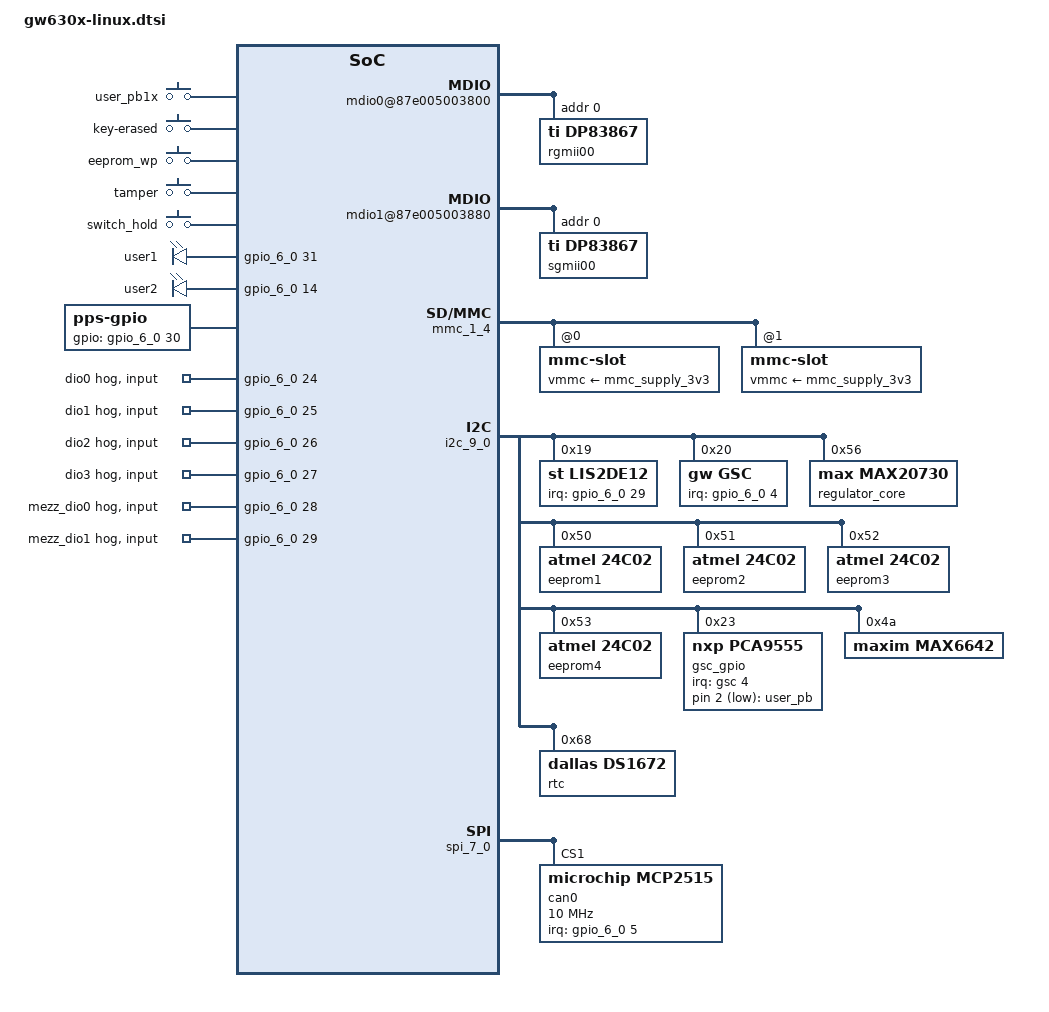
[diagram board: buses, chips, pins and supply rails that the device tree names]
/*
 * Copyright 2017 Gateworks Corporation
 *
 * This file is dual-licensed: you can use it either under the terms
 * of the GPL or the X11 license, at your option. Note that this dual
 * licensing only applies to this file, and not this project as a
 * whole.
 *
 *  a) This library is free software; you can redistribute it and/or
 *     modify it under the terms of the GNU General Public License as
 *     published by the Free Software Foundation; either version 2 of the
 *     License, or (at your option) any later version.
 *
 *     This library is distributed in the hope that it will be useful,
 *     but WITHOUT ANY WARRANTY; without even the implied warranty of
 *     MERCHANTABILITY or FITNESS FOR A PARTICULAR PURPOSE.  See the
 *     GNU General Public License for more details.
 *
 *     You should have received a copy of the GNU General Public
 *     License along with this library; if not, write to the Free
 *     Software Foundation, Inc., 51 Franklin St, Fifth Floor, Boston,
 *     MA 02110-1301 USA
 *
 * Or, alternatively,
 *
 *  b) Permission is hereby granted, free of charge, to any person
 *     obtaining a copy of this software and associated documentation
 *     files (the "Software"), to deal in the Software without
 *     restriction, including without limitation the rights to use,
 *     copy, modify, merge, publish, distribute, sublicense, and/or
 *     sell copies of the Software, and to permit persons to whom the
 *     Software is furnished to do so, subject to the following
 *     conditions:
 *
 *     The above copyright notice and this permission notice shall be
 *     included in all copies or substantial portions of the Software.
 *
 *     THE SOFTWARE IS PROVIDED "AS IS", WITHOUT WARRANTY OF ANY KIND,
 *     EXPRESS OR IMPLIED, INCLUDING BUT NOT LIMITED TO THE WARRANTIES
 *     OF MERCHANTABILITY, FITNESS FOR A PARTICULAR PURPOSE AND
 *     NONINFRINGEMENT. IN NO EVENT SHALL THE AUTHORS OR COPYRIGHT
 *     HOLDERS BE LIABLE FOR ANY CLAIM, DAMAGES OR OTHER LIABILITY,
 *     WHETHER IN AN ACTION OF CONTRACT, TORT OR OTHERWISE, ARISING
 *     FROM, OUT OF OR IN CONNECTION WITH THE SOFTWARE OR THE USE OR
 *     OTHER DEALINGS IN THE SOFTWARE.
 */

/include/ "cn81xx-linux.dtsi"

/ {
	aliases {
		ethernet0 = &eth0;
		ethernet1 = &eth1;
	};

	chosen {
		stdout-path = "serial0:115200n8";
	};

	config {
		u-boot,mmc-env-offset = <0xff0000>;
		u-boot,mmc-env-offset-redundant = <0xff8000>;
		u-boot,mmc-env-partition = <0>;
	};

	gpio-keys {
		compatible = "gpio-keys";
		#address-cells = <1>;
		#size-cells = <0>;

		user_pb {
			label = "user_pb";
			gpios = <&gsc_gpio 2 1>; /* GPIO_ACTIVE_LOW */
			linux,code = <256>; /* BTN_0 */
		};

		user_pb1x {
			label = "user_pb1x";
			linux,code = <257>; /* BTN_1 */
			interrupt-parent = <&gsc>;
			interrupts = <0>;
		};

		key_erased {
			label = "key-erased";
			linux,code = <258>; /* BTN_2 */
			interrupt-parent = <&gsc>;
			interrupts = <1>;
		};

		eeprom_wp {
			label = "eeprom_wp";
			linux,code = <259>; /* BTN_3 */
			interrupt-parent = <&gsc>;
			interrupts = <2>;
		};

		tamper {
			label = "tamper";
			linux,code = <260>; /* BTN_4 */
			interrupt-parent = <&gsc>;
			interrupts = <5>;
		};

		switch_hold {
			label = "switch_hold";
			linux,code = <261>; /* BTN_5 */
			interrupt-parent = <&gsc>;
			interrupts = <7>;
		};
	};

	leds {
		compatible = "gpio-leds";

		/* Bi-Color LED */
		led0: user1 {
			label = "user1"; /* GREEN */
			gpios = <&gpio_6_0 31 0>;
			default-state = "on";
			linux,default-trigger = "heartbeat";
		};

		led1: user2 {
			label = "user2"; /* RED */
			gpios = <&gpio_6_0 14 0>;
			default-state = "off";
		};
	};

	pps {
		compatible = "pps-gpio";
		gpios = <&gpio_6_0 30 0>;
	};
};

&gpio_6_0 {
	/* name gpios in Linux that are not associated with a driver */
	gpio-line-names =
		"", "", "", "",
		"", "", "", "",
		"", "", "", "",
		"", "", "", "",
		"", "", "", "",
		"", "", "", "",
		"dio0", "dio1", "dio2", "dio3",
		"mezz_dio0", "mezz_dio1", "", "",
		"", "", "", "",
		"", "", "", "",
		"", "", "", "",
		"", "", "", "";

	dio_0 {
		gpio-hog;
		input;
		gpios = <24 0>; /* GPIO_ACTIVE_HIGH */
		line-name = "dio0";
	};

	dio_1 {
		gpio-hog;
		input;
		gpios = <25 0>; /* GPIO_ACTIVE_HIGH */
		line-name = "dio1";
	};

	dio_2 {
		gpio-hog;
		input;
		gpios = <26 0>; /* GPIO_ACTIVE_HIGH */
		line-name = "dio2";
	};

	dio_3 {
		gpio-hog;
		input;
		gpios = <27 0>; /* GPIO_ACTIVE_HIGH */
		line-name = "dio3";
	};

	pcie_0 {
		gpio-hog;
		input;
		gpios = <28 0>; /* GPIO_ACTIVE_HIGH */
		line-name = "mezz_dio0";
	};

	pcie_1 {
		gpio-hog;
		input;
		gpios = <29 0>; /* GPIO_ACTIVE_HIGH */
		line-name = "mezz_dio1";
	};
};

&mrml_bridge {
	/* CN8xxx MDIO */
	mdio-nexus@1,3 {
		/* MDIO0 */
		mdio0@87e005003800 {
			rgmii00: rgmii00 {
				reg = <0>; /* phy address */
				compatible = "ti,dp83867", "ethernet-phy-ieee802.3-c22";
				ti,clk-output-sel = <0xb>; /* CHD TX CLK */
				ti,rx-internal-delay = <0x7>; /* 2ns */
				ti,tx-internal-delay = <0x7>; /* 20ps */
				ti,fifo-depth = <3>; /* 0=3 1=4 2=6 3=8 */
			};
		};
		/* MDIO1 */
		mdio1@87e005003880 {
			sgmii00: sgmii@0 {
				qlm-mode = "0x000,sgmii";
				reg = <0>; /* phy address */
				compatible = "ti,dp83867", "ethernet-phy-ieee802.3-c22";
				ti,fifo-depth = <3>; /* 0=3 1=4 2=6 3=8 */
			};
		};
	};

	rgx0 {
		eth0: rgmii00 {
			reg = <0>;
			local-mac-address = [00 00 00 00 00 00];
			phy-handle = <&rgmii00>;
		};
	};

	/* DLM1 => SGMII (dp83867) */
	bgx0 {
		/* BGX0.0 */
		eth1: sgmii@0 {
			reg = <0>;
			qlm-mode = "0x000,sgmii";
			local-mac-address = [00 00 00 00 00 00];
			phy-handle = <&sgmii00>;
		};
	};
};

&mmc_1_4 {
	/* CMD0 placeholder */
	mmc-slot@0 {
		compatible = "mmc-slot";
		reg = <0>;
		vmmc-supply = <&mmc_supply_3v3>;
		max-frequency = <35000000>;
		/* 1.8v is not supported */
		no-1-8-v;
		/* No write-protect switch is present */
		disable-wp;
		/* no card detection available; polling must be used. */
		broken-cd;
		/* speed up device probing */
		no-sdio;
	};

	/* CMD1 placeholder */
	mmc-slot@1 {
		compatible = "mmc-slot";
		reg = <1>;
		vmmc-supply = <&mmc_supply_3v3>;
		max-frequency = <35000000>;
		/* 1.8v is not supported */
		no-1-8-v;
		/* No write-protect switch is present */
		disable-wp;
		/* no card detection available; polling must be used. */
		broken-cd;
		/* speed up device probing */
		no-sdio;
	};
};

/* TWSI0 */
&i2c_9_0 {
	lis2de12@19 {
		compatible = "st,lis2de12";
		reg = <0x19>;
		st,drdy-int-pin = <1>;
		interrupt-parent = <&gpio_6_0>;
		interrupts = <29 1>;
		interrupt-names = "INT1";
	};

	gsc: gsc@20 {
		compatible = "gw,gsc";
		reg = <0x20>;
		interrupt-parent = <&gpio_6_0>;
		interrupts = <4 8>;
		interrupt-controller;
		#address-cells = <1>;
		#interrupt-cells = <1>;
		#size-cells = <0>;

		adc {
			compatible = "gw,gsc-adc";
			#address-cells = <1>;
			#size-cells = <0>;

			channel@6 {
				gw,mode = <0>;
				reg = <0x06>;
				label = "temp";
			};

			channel@8 {
				gw,mode = <3>;
				reg = <0x08>;
				label = "vdd_bat";
			};

			channel@16 {
				gw,mode = <4>;
				reg = <0x16>;
				label = "fan_tach";
			};

			channel@82 {
				gw,mode = <2>;
				reg = <0x82>;
				label = "vdd_vin";
				gw,voltage-divider-ohms = <22100 1000>;
				gw,voltage-offset-microvolt = <800000>;
			};

			channel@84 {
				gw,mode = <2>;
				reg = <0x84>;
				label = "vdd_5p0";
				gw,voltage-divider-ohms = <22100 10000>;
			};

			channel@86 {
				gw,mode = <2>;
				reg = <0x86>;
				label = "vdd_3p3";
				gw,voltage-divider-ohms = <10000 10000>;
			};

			channel@88 {
				gw,mode = <2>;
				reg = <0x88>;
				label = "vdd_2p5";
				gw,voltage-divider-ohms = <10000 10000>;
			};

			channel@8c {
				gw,mode = <2>;
				reg = <0x8c>;
				label = "vdd_core";
			};

			channel@8e {
				gw,mode = <2>;
				reg = <0x8e>;
				label = "vdd_0p9";
			};

			channel@90 {
				gw,mode = <2>;
				reg = <0x90>;
				label = "vdd_1p0";
			};

			channel@92 {
				gw,mode = <2>;
				reg = <0x92>;
				label = "vdd_1p2";
			};

			channel@98 {
				gw,mode = <2>;
				reg = <0x98>;
				label = "vdd_1p5";
			};

			channel@9a {
				gw,mode = <2>;
				reg = <0x9a>;
				label = "vdd_an1";
				gw,voltage-divider-ohms = <10000 10000>;
			};

			channel@a2 {
				gw,mode = <2>;
				reg = <0xa2>;
				label = "vdd_gsc";
				gw,voltage-divider-ohms = <10000 10000>;
			};
		};

		fan-controller@0a {
			#size-cells = <0>;
			compatible = "gw,gsc-fan";
			reg = <0x0a>;
		};
	};

	/* regulator */
	regulator_core: max20730-i2c@56 {
		compatible = "max,max20730";
		reg = <0x56>;
	};

	eeprom1: eeprom@50 {
		compatible = "atmel,24c02";
		reg = <0x50>;
		pagesize = <16>;
	};

	eeprom2: eeprom@51 {
		compatible = "atmel,24c02";
		reg = <0x51>;
		pagesize = <16>;
	};

	eeprom3: eeprom@52 {
		compatible = "atmel,24c02";
		reg = <0x52>;
		pagesize = <16>;
	};

	eeprom4: eeprom@53 {
		compatible = "atmel,24c02";
		reg = <0x53>;
		pagesize = <16>;
	};

	gsc_gpio: pca9555@23 {
		compatible = "nxp,pca9555";
		reg = <0x23>;
		gpio-controller;
		#gpio-cells = <2>;
		interrupt-parent = <&gsc>;
		interrupts = <4>;
		gpio-line-names =
			"pci_wdis#", "", "", "", "", "", "", "",
			"", "", "", "", "", "", "", "";

		/* NB: this can only be used as an output */
		pci_wdis {
			gpio-hog;
			output-high;
			gpios = <0 0>; /* GPIO_ACTIVE_HIGH */
			line-name = "pci_wdis#";
		};
	};

	max6642: max6642@4a {
		compatible = "maxim,max6642";
		reg = <0x4a>;
	};

	rtc: ds1672@68 {
		compatible = "dallas,ds1672";
		reg = <0x68>;
	};
};

&spi_7_0 {
	can0: can@1 {
		compatible = "microchip,mcp2515","linux,spidev";
		reg = <1>;
		clocks = <&can20m>;
		oscillator-frequency = <20000000>;
		interrupt-parent = <&gpio_6_0>;
		interrupts = <5 0x8>; /* IRQ_TYPE_LEVEL_LOW */
		spi-max-frequency = <10000000>;
	};
};
